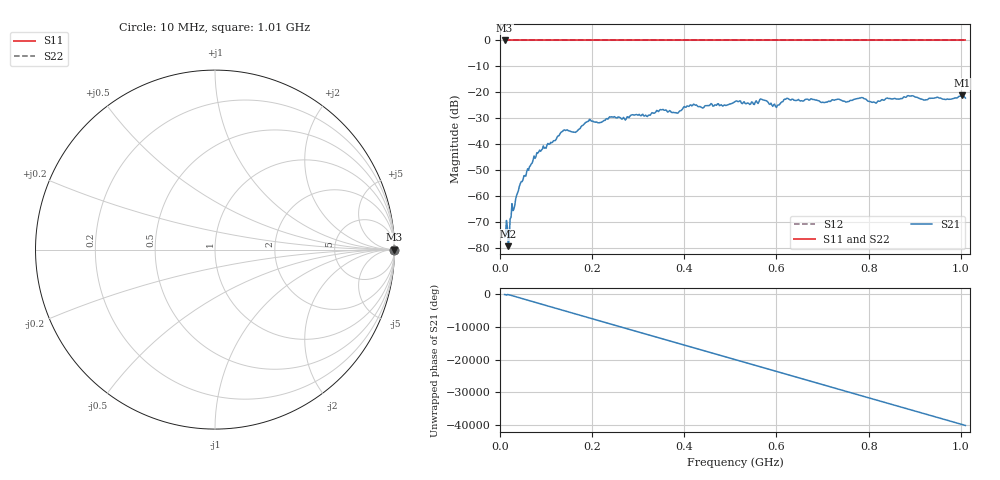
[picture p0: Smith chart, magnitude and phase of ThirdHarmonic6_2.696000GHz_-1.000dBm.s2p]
! 8/17/2025 6:25:43 AM
! C:\ANRITSUVNA\TEMP\TEMP.S2P
! CHANNEL.1
! TR.MEASUREMENT
! RAW.DATA
! RF.CORRECTION.OFF
! AVERAGING.OFF
! IF.BANDWIDTH: 5KHZ
! SWEEPTYPE:  FREQ.SWEEP(Linear)
! Reference Plane Port Info
! PORT:  PORT1  PORT2
! DISTANCE:  0  m  0  m
! TIME:  0  s  0  s
! PHASE.OFFSET:  0  deg.  0  deg.
! LOSS:  0  dB  0  dB
! REF.LOSS:  0  dB  0  dB
! REF.FREQ:  0  Hz  0  Hz
! Power Info
! POWER:  -20  dBm  -20  dBm
! EFF.POWER:  -20  dBm  -20  dBm
! SOURCE.ATTEN:  0  dB  0  dB
! TEST.ATTEN:  0  dB  0  dB
# GHZ S RI R 50.0
! FREQ.GHZ  S11RE  S11IM  S21RE  S21IM  S12RE  S12IM  S22RE  S22IM
!; PortSelection: Port_12
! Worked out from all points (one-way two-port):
!   501 points, 10 MHz to 1.01 GHz, reference 50 ohm
!   highest |S21| = -21.21 dB at 1.002 GHz (marker M1); lowest = -79.3 dB at 18 MHz (marker M2)
!   lowest |S11| = 0.0 dB at 10 MHz (marker M3)
!   |S11| at or under -10 dB: nowhere
!   |S22| runs from 0.0 to 0.0 dB; largest |S21 - S12| = 1.1
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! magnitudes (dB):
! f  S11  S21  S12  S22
! 10 MHz  0.0  -75.9  0.0  0.0
! 18 MHz  0.0  -79.3  0.0  0.0
! 26 MHz  0.0  -62.9  0.0  0.0
! 42 MHz  0.0  -56.2  0.0  0.0
! 78 MHz  0.0  -44.8  0.0  0.0
! 136 MHz  0.0  -35.0  0.0  0.0
! 164 MHz  0.0  -35.4  0.0  0.0
! 178 MHz  0.0  -32.9  0.0  0.0
! 194 MHz  0.0  -30.4  0.0  0.0
! 344 MHz  0.0  -27.4  0.0  0.0
! 382 MHz  0.0  -27.8  0.0  0.0
! 416 MHz  0.0  -25.2  0.0  0.0
! 510 MHz  0.0  -23.6  0.0  0.0
! 568 MHz  0.0  -22.7  0.0  0.0
! 602 MHz  0.0  -25.0  0.0  0.0
! 620 MHz  0.0  -22.7  0.0  0.0
! 678 MHz  0.0  -22.7  0.0  0.0
! 784 MHz  0.0  -22.0  0.0  0.0
! 814 MHz  0.0  -23.9  0.0  0.0
! 844 MHz  0.0  -22.4  0.0  0.0
! 1.002 GHz  0.0  -21.2  0.0  0.0
! 1.01 GHz  0.0  -22.2  0.0  0.0
